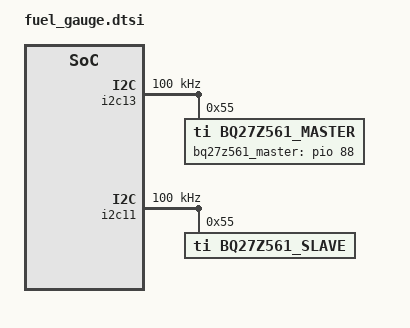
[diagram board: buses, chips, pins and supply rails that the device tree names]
&i2c13 {
	#address-cells = <1>;
	#size-cells = <0>;
	clock-frequency = <100000>;
	/*         compatible = "nfg,nfg1000_master"; */
	/*         status = "okay"; */
	/*         reg = <0x55>; */
	/*         bootmode = <&chosen>; */
	/*         tran_Q_max = <2990>; */
	/*         nfg1000_master_gpio = <&pio 146 0x00>; */
	/*         pinctrl-names = "i2c_scl_gpio_init", "i2c_sda_gpio_init"; */
	/*         pinctrl-0 = <&gpio_master_i2c_sclk_mode>; */
	/*         pinctrl-1 = <&gpio_master_i2c_sda_mode>; */
	/*         nfg1000_ad_data_len_m = <61440>; */
	/*         i2c_support_dma; */
	/* }; */
	bq27z561_master@55 {
		compatible = "ti,bq27z561_master";
		status = "okay";
		reg = <0x55>;
		bootmode = <&chosen>;
		tran_Q_max = <2755>;
		bq27z561_master_gpio = <&pio 88 0x00>;
		pinctrl-names = "i2c_scl_gpio_init", "i2c_sda_gpio_init";
		pinctrl-0 = <&gpio_master_i2c_sclk_mode>;
		pinctrl-1 = <&gpio_master_i2c_sda_mode>;
		i2c_support_dma;
	};
};

&i2c11 {
        #address-cells = <1>;
        #size-cells = <0>;

        clock-frequency = <100000>;
        /*         compatible = "nfg,nfg1000_slave"; */
        /*         status = "okay"; */
        /*         reg = <0x55>; */
        /*         bootmode = <&chosen>; */
        /*         tran_Q_max = <2660>; */
        /*         nfg1000_slave_gpio = <&pio 147 0x00>; */
        /*         pinctrl-names = "i2c_scl_gpio_init", "i2c_sda_gpio_init"; */
        /*         pinctrl-0 = <&gpio_slave_i2c_sclk_mode>; */
        /*         pinctrl-1 = <&gpio_slave_i2c_sda_mode>; */
        /*         nfg1000_ad_data_len_s = <61440>; */
        /*         i2c_support_dma; */
        /* }; */
        bq27z561_slave@55 {
                compatible = "ti,bq27z561_slave";
                status = "okay";
                reg = <0x55>;
                bootmode = <&chosen>;
                tran_Q_max = <2445>;
                /*bq27z561_slave_gpio = <&pio 147 0x00>;*/
                bq,batt_exio_en = <1>;
                pinctrl-names = "i2c_scl_gpio_init", "i2c_sda_gpio_init";
                pinctrl-0 = <&gpio_slave_i2c_sclk_mode>;
                pinctrl-1 = <&gpio_slave_i2c_sda_mode>;
                i2c_support_dma;
        };
};

&pio {
        gpio_slave_i2c_sclk_mode: gpio_slave_i2c_sclk_mode {
                pins_cmd_dat {
                        pinmux = <PINMUX_GPIO92__FUNC_SCL11>;
                        drive-strength = <4>;
                };
        };
        gpio_slave_i2c_sda_mode: gpio_slave_i2c_sda_mode {
                pins_cmd_dat {
                        pinmux = <PINMUX_GPIO93__FUNC_SDA11>;
                        drive-strength = <4>;
                };
        };

	gpio_master_i2c_sclk_mode: gpio_master_i2c_sclk_mode {
		pins_cmd_dat {
			pinmux = <PINMUX_GPIO104__FUNC_SCL13>;
			drive-strength = <4>;
		};
	};
	gpio_master_i2c_sda_mode: gpio_master_i2c_sda_mode {
		pins_cmd_dat {
			pinmux = <PINMUX_GPIO105__FUNC_SDA13>;
			drive-strength = <4>;
		};
	};
};

